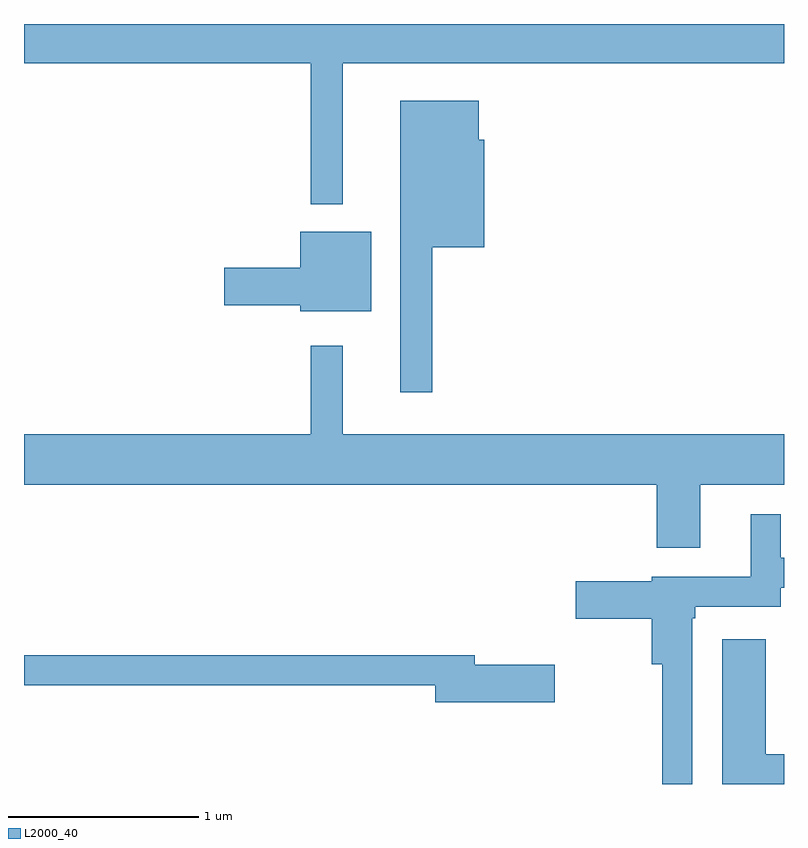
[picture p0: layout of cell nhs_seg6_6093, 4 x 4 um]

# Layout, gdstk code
import gdstk
lib = gdstk.Library(unit=1e-6, precision=1e-09)
def P(c, l, *ps):  # polygons
    for p in ps: c.add(gdstk.Polygon(p, *l))
L2000_40 = (2000, 40)

nhs_seg6_6093 = lib.new_cell('nhs_seg6_6093')
P(nhs_seg6_6093, L2000_40, [(371.289,1629.956),(373.611,1629.956),(373.611,1630.162),(369.611,1630.162),(369.611,1629.956),(371.121,1629.956),(371.121,1629.213),(371.289,1629.213)],
  [(371.759,1628.986),(372.034,1628.986),(372.034,1629.554),(372.004,1629.554),(372.004,1629.759),(371.591,1629.759),(371.591,1628.223),(371.759,1628.223)],
  [(371.439,1629.069),(371.066,1629.069),(371.066,1628.879),(370.666,1628.879),(370.666,1628.681),(371.066,1628.681),(371.066,1628.651),(371.439,1628.651)],
  [(373.169,1627.736),(373.611,1627.736),(373.611,1628.004),(371.289,1628.004),(371.289,1628.468),(371.121,1628.468),(371.121,1628.004),(369.611,1628.004),(369.611,1627.736),(372.941,1627.736),(372.941,1627.406),(373.169,1627.406)],
  [(373.129,1627.035),(373.144,1627.035),(373.144,1627.096),(373.594,1627.096),(373.594,1627.196),(373.611,1627.196),(373.611,1627.354),(373.594,1627.354),(373.594,1627.583),(373.436,1627.583),(373.436,1627.254),(372.916,1627.254),(372.916,1627.229),(372.516,1627.229),(372.516,1627.031),(372.916,1627.031),(372.916,1626.791),(372.971,1626.791),(372.971,1626.162),(373.129,1626.162)],
  [(373.611,1626.319),(373.514,1626.319),(373.514,1626.924),(373.286,1626.924),(373.286,1626.162),(373.611,1626.162)],
  [(372.404,1626.789),(371.984,1626.789),(371.984,1626.839),(369.611,1626.839),(369.611,1626.681),(371.776,1626.681),(371.776,1626.591),(372.404,1626.591)])

lib.write_gds('nhs_seg6_6093.gds')
